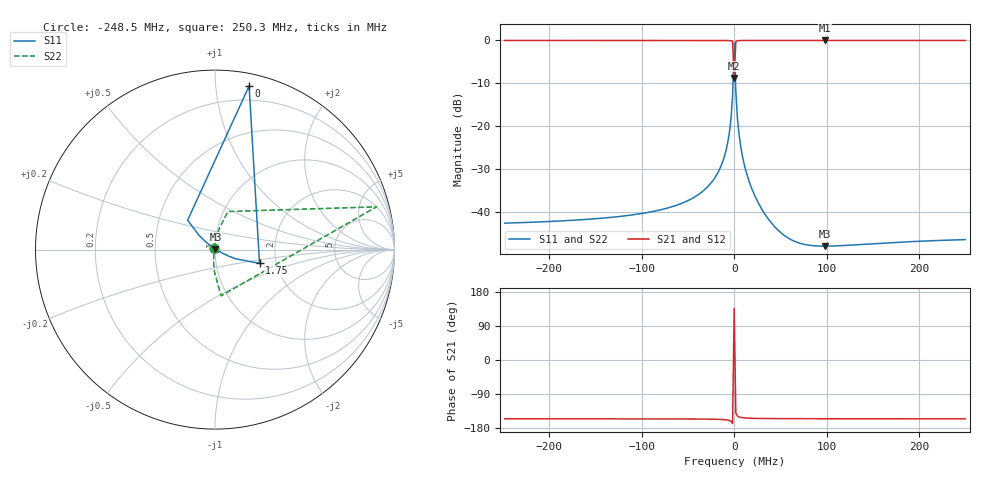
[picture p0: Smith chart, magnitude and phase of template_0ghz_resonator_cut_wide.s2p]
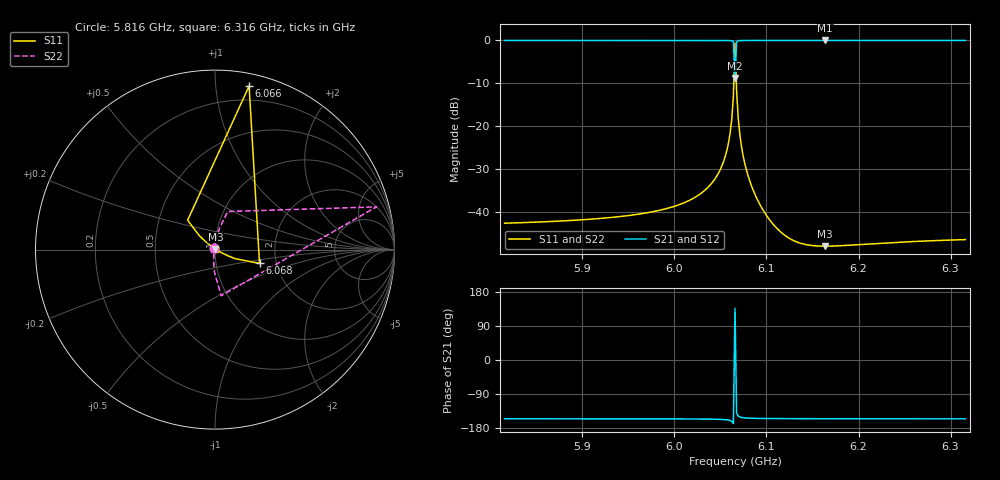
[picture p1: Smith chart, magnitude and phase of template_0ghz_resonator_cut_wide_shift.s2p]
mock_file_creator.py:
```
import skrf as rf
import os


def shift_s2p_freq_axis_minimal(input_fp: str, output_fp: str, freq_shift_ghz: float):
    ntwk = rf.Network(input_fp)
    ntwk.f = ntwk.f / (10 ** 9) + freq_shift_ghz

    output_dir = os.path.dirname(output_fp)
    if output_dir and not os.path.exists(output_dir): os.makedirs(output_dir, exist_ok=True)
    ntwk.write_touchstone(output_fp)


def hz2ghz(input_fp: str, output_fp: str):
    ntwk = rf.Network(input_fp)
    ntwk.f = ntwk.f / (10 ** 9)

    output_dir = os.path.dirname(output_fp)
    if output_dir and not os.path.exists(output_dir): os.makedirs(output_dir, exist_ok=True)
    ntwk.write_touchstone(output_fp)


def cut_spektrum(input_fp: str, output_fp: str, freq_min_ghz: float, freq_max_ghz: float):
    ntwk = rf.Network(input_fp)
    ntwk.f = ntwk.f / (10 ** 9) + 1
    ntwk = ntwk[f'{1 + freq_min_ghz}-{1 + freq_max_ghz}ghz']
    ntwk.f = ntwk.f / (10 ** 9) - 1
    output_dir = os.path.dirname(output_fp)
    if output_dir and not os.path.exists(output_dir):
        os.makedirs(output_dir, exist_ok=True)
    ntwk.write_touchstone(output_fp)


def dipSpreader(input_fp: str, output_fp: str, scale_factor: float):
    ntwk = rf.Network(input_fp)
    ntwk.f = ntwk.f / (10 ** 9) * scale_factor

    output_dir = os.path.dirname(output_fp)
    if output_dir and not os.path.exists(output_dir): os.makedirs(output_dir, exist_ok=True)
    ntwk.write_touchstone(output_fp)


if __name__ == "__main__":
    IN_FILE = "template_0ghz_resonator_cut_wide.s2p"
    OUT_FILE = "template_0ghz_resonator_cut_wide_shift.s2p"

    current_path = os.path.abspath("")
    data_dir_path = os.path.join(current_path, "data")
    in_file_path = os.path.join(data_dir_path, IN_FILE)
    out_file_path = os.path.join(data_dir_path, OUT_FILE)

    # SHIFT = -7266900000/1e9
    #
    # shift_s2p_freq_axis_minimal(in_file_path, out_file_path, SHIFT)
    # hz2ghz(in_file_path, out_file_path)
    # cut_spektrum(in_file_path, out_file_path, freq_min_ghz=-0.01, freq_max_ghz=0.01)
    # dipSpreader(in_file_path, out_file_path, scale_factor=25)
    shift_s2p_freq_axis_minimal(in_file_path, out_file_path, 6.065852884)

    print("DONE")
```
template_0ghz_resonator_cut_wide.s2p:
! Touchstone file exported from HFSS 2024.1.0
!  File:  C:/Users/alex_0000/Desktop/hfss_resonance_simulator (1).aedt
!  Generated:  06:27:55 PM Jun  4, 2025
!  Design:  hfssO1XZ3E2
!  Project:  hfss_resonance_simulator (1)
!  Setup:  Setup1
!  Solution:  Sweep
! Created with skrf (http://scikit-rf.org).
# GHz S RI R 50.0
! Port[1] = 1
! Port[2] = 2
!freq ReS11 ImS11 ReS21 ImS21 ReS12 ImS12 ReS22 ImS22
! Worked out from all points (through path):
!   286 points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, -248.5 MHz to 250.3 MHz, reference 50 ohm
!   highest |S21| = 0.00 dB at 98 MHz (marker M1); lowest = -8.7 dB at 0 Hz (marker M2)
!   lowest |S11| = -47.9 dB at 98 MHz (marker M3), VSWR 1.01, Z = 50.2 + j0.34 ohm
!   |S11| at or under -10 dB: start of sweep to -1.325 MHz; 1.48 MHz to end of sweep
!   |S22| runs from -47.9 to -0.6 dB; largest |S21 - S12| = 2.3e-13
!   S11 on the Smith chart (normalised r, x): -248.5 MHz: 0.99, +0.01; 0 Hz: 0.09, +1.23; 1.75 MHz: 1.63, -0.27; 250.3 MHz: 1.00, +0.01
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-0.2485  -0.00299 0.00685  -0.9066 -0.422  -0.9066 -0.422  -0.00331 0.0067
-0.035  -0.0116 0.0127  -0.9122 -0.4095  -0.9122 -0.4095  -0.0018 0.0171
-0.00875  -0.0403 0.0344  -0.9253 -0.3754  -0.9253 -0.3754  0.00492 0.0527
-0.00175  -0.1524 0.1637  -0.9527 -0.2057  -0.9527 -0.2057  0.0713 0.212
0  0.19 0.9113  -0.265 0.2513  -0.265 0.2513  0.8999 0.2382
0.00175  0.2481 -0.0768  -0.7381 -0.6227  -0.7381 -0.6227  0.0339 -0.2575
0.00875  0.0416 -0.0198  -0.8843 -0.4647  -0.8843 -0.4647  -0.00729 -0.0454
0.028  0.0115 -0.00254  -0.9009 -0.4339  -0.9009 -0.4339  -0.00519 -0.0106
0.05775  0.00477 0.00172  -0.9046 -0.4262  -0.9046 -0.4262  -0.00436 -0.00258
0.098  0.0022 0.00338  -0.9062 -0.4229  -0.9062 -0.4229  -0.004 0.000488
0.25025  -5.84e-06 0.00481  -0.9083 -0.4184  -0.9083 -0.4184  -0.00365 0.00313
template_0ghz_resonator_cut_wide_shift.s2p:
! Touchstone file exported from HFSS 2024.1.0
!  File:  C:/Users/alex_0000/Desktop/hfss_resonance_simulator (1).aedt
!  Generated:  06:27:55 PM Jun  4, 2025
!  Design:  hfssO1XZ3E2
!  Project:  hfss_resonance_simulator (1)
!  Setup:  Setup1
!  Solution:  Sweep
! Created with skrf (http://scikit-rf.org).
# GHz S RI R 50.0
! Port[1] = 1
! Port[2] = 2
!freq ReS11 ImS11 ReS21 ImS21 ReS12 ImS12 ReS22 ImS22
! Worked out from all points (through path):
!   287 points, 5.816 GHz to 6.316 GHz, reference 50 ohm
!   highest |S21| = 0.00 dB at 6.164 GHz (marker M1); lowest = -8.7 dB at 6.066 GHz (marker M2)
!   lowest |S11| = -47.9 dB at 6.164 GHz (marker M3), VSWR 1.01, Z = 50.2 + j0.34 ohm
!   |S11| at or under -10 dB: start of sweep to 6.065 GHz; 6.067 GHz to end of sweep
!   |S22| runs from -47.9 to -0.6 dB; largest |S21 - S12| = 2.3e-13
!   S11 on the Smith chart (normalised r, x): 5.816 GHz: 0.99, +0.01; 6.066 GHz: 0.09, +1.23; 6.068 GHz: 1.63, -0.27; 6.316 GHz: 1.00, +0.01
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5.815603  -0.00298 0.00684  -0.9065 -0.422  -0.9065 -0.422  -0.00332 0.00669
6.030853  -0.0116 0.0127  -0.9122 -0.4095  -0.9122 -0.4095  -0.0018 0.0171
6.057103  -0.0403 0.0344  -0.9253 -0.3754  -0.9253 -0.3754  0.00492 0.0527
6.064103  -0.1524 0.1637  -0.9527 -0.2057  -0.9527 -0.2057  0.0713 0.212
6.065853  0.19 0.9113  -0.265 0.2513  -0.265 0.2513  0.8999 0.2382
6.067603  0.2481 -0.0768  -0.7381 -0.6227  -0.7381 -0.6227  0.0339 -0.2575
6.074603  0.0416 -0.0198  -0.8843 -0.4647  -0.8843 -0.4647  -0.00729 -0.0454
6.093853  0.0115 -0.00254  -0.9009 -0.4339  -0.9009 -0.4339  -0.00519 -0.0106
6.123603  0.00477 0.00172  -0.9046 -0.4262  -0.9046 -0.4262  -0.00436 -0.00258
6.163853  0.0022 0.00338  -0.9062 -0.4229  -0.9062 -0.4229  -0.004 0.000488
6.316103  -5.84e-06 0.00481  -0.9083 -0.4184  -0.9083 -0.4184  -0.00365 0.00313
